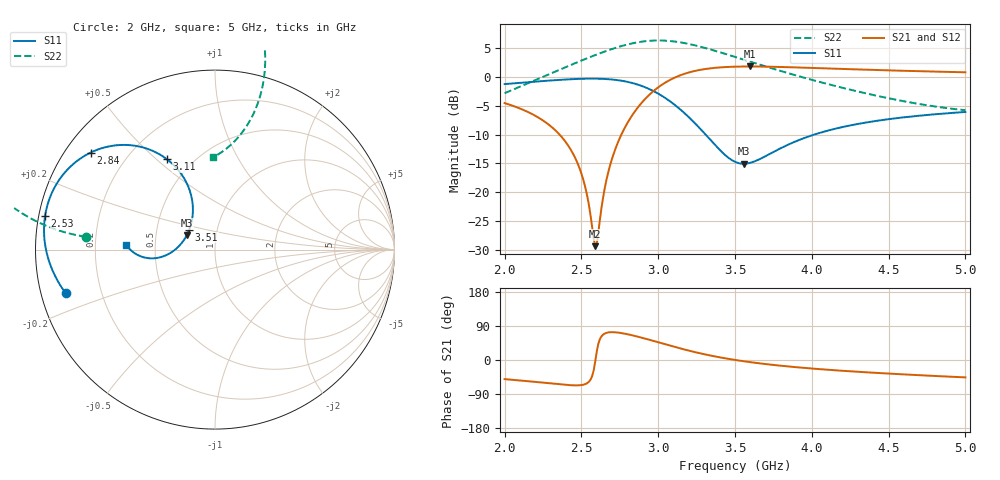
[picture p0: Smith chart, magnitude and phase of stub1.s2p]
! Touchstone file exported from HFSS 2025.2.4
!  File:  C:/Users/hdung/OneDrive/Documents/261_KTSCT_L04_Nhom08/HFSS/Matching_EM3D_3p5GHz.aedt
!  Generated:  10:45:25 PM Nov 25, 2026
!  Design:  stub1
!  Project:  Matching_EM3D_3p5GHz
!Data is not renormalized
# GHz S MA
! Terminal data exported
! Port[1] = P1
! Port[2] = P2
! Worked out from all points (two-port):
!   301 points, 2 GHz to 5 GHz, reference per port
!   highest |S21| = 1.81 dB at 3.6 GHz (marker M1); lowest = -29.4 dB at 2.59 GHz (marker M2)
!   |S21| within 3 dB of the highest: 3.034 GHz to end of sweep
!   lowest |S11| = -15.1 dB at 3.56 GHz (marker M3), VSWR 1.43
!   |S11| at or under -10 dB: 3.308 GHz to 4.017 GHz (708.4 MHz wide, 19.3 % of centre)
!   |S22| runs from -5.8 to 6.3 dB; largest |S21 - S12| = 1.2e-14
!   S11 on the Smith chart (normalised r, x): 2 GHz: 0.07, -0.14; 2.53 GHz: 0.02, +0.10; 2.84 GHz: 0.07, +0.34; 3.11 GHz: 0.36, +0.54; 3.51 GHz: 0.73, +0.17; 5 GHz: 0.34, +0.02
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2  0.8666 -163.6  0.593 -50.4  0.593 -50.4  0.7222 174.3
2.32  0.9354 -178.2  0.3545 -62.7  0.3545 -62.7  1.099 169.2
2.43  0.9546 175.5  0.2347 -66.5  0.2347 -66.5  1.268 165.4
2.5  0.963 170.9  0.145 -66.1  0.145 -66.1  1.386 162.2
2.53  0.9651 168.8  0.1036 -62.8  0.1036 -62.8  1.439 160.6
2.59  0.9658 164.4  0.03401 -4.1  0.03401 -4.1  1.547 157.1
2.6  0.9653 163.6  0.03585 22.4  0.03585 22.4  1.566 156.5
2.65  0.9602 159.6  0.1049 69.4  0.1049 69.4  1.657 153.1
2.69  0.952 156.2  0.1772 73.4  0.1772 73.4  1.73 150.2
2.76  0.9272 149.8  0.3157 71.1  0.3157 71.1  1.85 144.5
2.84  0.8791 142.1  0.4845 64.3  0.4845 64.3  1.966 137.2
3  0.7161 126.6  0.8119 46.7  0.8119 46.7  2.071 121.1
3.11  0.5689 117.9  0.9895 34.2  0.9895 34.2  2.025 110.3
3.2  0.4464 113.7  1.093 24.6  1.093 24.6  1.931 102.3
3.31  0.3145 114.3  1.173 14.3  1.173 14.3  1.776 94.1
3.5  0.1834 140.1  1.227 0.2  1.227 0.2  1.491 83.9
3.51  0.1811 142.3  1.228 -0.4  1.228 -0.4  1.477 83.4
3.56  0.1764 153.2  1.231 -3.5  1.231 -3.5  1.408 81.5
3.6  0.1798 161.3  1.231 -5.7  1.231 -5.7  1.355 80.2
4  0.311 -172.0  1.197 -22.5  1.197 -22.5  0.9436 73.8
4.5  0.4299 -175.9  1.14 -35.8  1.14 -35.8  0.6527 77.7
5  0.4964 176.9  1.097 -45.9  1.097 -45.9  0.5144 91.3
